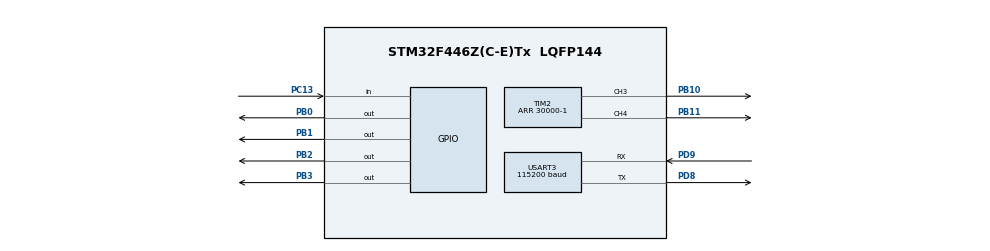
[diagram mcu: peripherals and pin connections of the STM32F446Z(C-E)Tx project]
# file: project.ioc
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Mcu.Family=STM32F4
Mcu.Name=STM32F446Z(C-E)Tx
Mcu.Package=LQFP144
NVIC.PriorityGroup=NVIC_PRIORITYGROUP_4
PB0.Signal=GPIO_Output
PB1.Signal=GPIO_Output
PB10.Signal=S_TIM2_CH3
PB11.Signal=S_TIM2_CH4
PB2.Signal=GPIO_Output
PB3.Signal=GPIO_Output
PD9.Mode=Asynchronous
PD9.Signal=USART3_RX
PC13.GPIO_PuPd=GPIO_PULLDOWN
PC13.Signal=GPIO_Input
PD8.Mode=Asynchronous
PD8.Signal=USART3_TX
ProjectManager.HeapSize=0x200
ProjectManager.StackSize=0x400
ProjectManager.TargetToolchain=MDK-ARM V5
RCC.CortexFreq_Value=16000000
RCC.USBFreq_Value=96000000
RCC.VCOOutputFreq_Value=192000000
SH.S_TIM2_CH3.0=TIM2_CH3,PWM Generation3 CH3
SH.S_TIM2_CH4.0=TIM2_CH4,PWM Generation4 CH4
TIM2.Channel-PWM\ Generation3\ CH3=TIM_CHANNEL_3
TIM2.Channel-PWM\ Generation4\ CH4=TIM_CHANNEL_4
TIM2.Period=30000-1
USART3.BaudRate=115200
USART3.VirtualMode=VM_ASYNC
board=custom

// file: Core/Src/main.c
/* USER CODE BEGIN Header */
/**
  ******************************************************************************
  * @file           : main.c
  * @brief          : Main program body
  ******************************************************************************
  * @attention
  *
  * Copyright (c) 2025 STMicroelectronics.
  * All rights reserved.
  *
  * This software is licensed under terms that can be found in the LICENSE file
  * in the root directory of this software component.
  * If no LICENSE file comes with this software, it is provided AS-IS.
  *
  ******************************************************************************
  */
/* USER CODE END Header */
#include "main.h"

/* USER CODE BEGIN Includes */
#include <stdio.h>
/* USER CODE END Includes */

/* USER CODE BEGIN PD */
#define MOTOR_BUTTON_DEBOUNCE_MS 20U
/* A silent PC link stops the car after this long. */
#define MOTOR_SERIAL_TIMEOUT_MS 500U
/* USER CODE END PD */

TIM_HandleTypeDef htim2;

UART_HandleTypeDef huart3;

/* USER CODE BEGIN PV */
static uint8_t motor_command = 0U;
static uint8_t button_candidate = 0U;
static uint32_t button_changed_tick = 0U;
/* Written by USART3_IRQHandler, read by Motor_ControlSerial. */
static volatile uint8_t serial_active = 0U;
static volatile uint8_t serial_signal = 0U;
static volatile uint32_t serial_tick = 0U;
/* USER CODE END PV */

void SystemClock_Config(void);
static void MX_GPIO_Init(void);
static void MX_TIM2_Init(void);
static void MX_USART3_UART_Init(void);
/* USER CODE BEGIN PFP */
static void Motor_SetCommand(uint8_t command);
static void Motor_ReportRegisters(void);
/* USER CODE END PFP */

int main(void)
{

  /* MCU Configuration--------------------------------------------------------*/

  /* Reset of all peripherals, Initializes the Flash interface and the Systick. */
  HAL_Init();

  /* Configure the system clock */
  SystemClock_Config();

  /* Initialize all configured peripherals */
  MX_GPIO_Init();
  MX_TIM2_Init();
  MX_USART3_UART_Init();
  /* USER CODE BEGIN 2 */
  /* Boot neutral before enabling either PWM output. */
  Motor_SetCommand(0U);
  if (HAL_TIM_PWM_Start(&htim2, TIM_CHANNEL_3) != HAL_OK ||
      HAL_TIM_PWM_Start(&htim2, TIM_CHANNEL_4) != HAL_OK)
  {
    Error_Handler();
  }
  button_changed_tick = HAL_GetTick();
  /* Command bytes from the PC arrive by interrupt on the ST-LINK COM port. */
  HAL_NVIC_SetPriority(USART3_IRQn, 5U, 0U);
  HAL_NVIC_EnableIRQ(USART3_IRQn);
  __HAL_UART_ENABLE_IT(&huart3, UART_IT_RXNE);
/* USER CODE END 2 */

  /* Infinite loop */
  /* USER CODE BEGIN WHILE */
  while (1)
  {
    /* PC commands drive the car while they keep arriving; when the link is
       silent the USER button works as before. */
    if (Motor_ControlSerial() == 0U)
    {
      Motor_ControlButton();
    }
    /* USER CODE END WHILE */

  }
}

void SystemClock_Config(void)
{
  RCC_OscInitTypeDef RCC_OscInitStruct = {0};
  RCC_ClkInitTypeDef RCC_ClkInitStruct = {0};

  /** Configure the main internal regulator output voltage
  */
  __HAL_RCC_PWR_CLK_ENABLE();
  __HAL_PWR_VOLTAGESCALING_CONFIG(PWR_REGULATOR_VOLTAGE_SCALE3);

  /** Initializes the RCC Oscillators according to the specified parameters
  * in the RCC_OscInitTypeDef structure.
  */
  RCC_OscInitStruct.OscillatorType = RCC_OSCILLATORTYPE_HSI;
  RCC_OscInitStruct.HSIState = RCC_HSI_ON;
  RCC_OscInitStruct.HSICalibrationValue = RCC_HSICALIBRATION_DEFAULT;
  RCC_OscInitStruct.PLL.PLLState = RCC_PLL_NONE;
  if (HAL_RCC_OscConfig(&RCC_OscInitStruct) != HAL_OK)
  {
    Error_Handler();
  }

  /** Initializes the CPU, AHB and APB buses clocks
  */
  RCC_ClkInitStruct.ClockType = RCC_CLOCKTYPE_HCLK|RCC_CLOCKTYPE_SYSCLK
                              |RCC_CLOCKTYPE_PCLK1|RCC_CLOCKTYPE_PCLK2;
  RCC_ClkInitStruct.SYSCLKSource = RCC_SYSCLKSOURCE_HSI;
  RCC_ClkInitStruct.AHBCLKDivider = RCC_SYSCLK_DIV1;
  RCC_ClkInitStruct.APB1CLKDivider = RCC_HCLK_DIV1;
  RCC_ClkInitStruct.APB2CLKDivider = RCC_HCLK_DIV1;

  if (HAL_RCC_ClockConfig(&RCC_ClkInitStruct, FLASH_LATENCY_0) != HAL_OK)
  {
    Error_Handler();
  }
}

static void MX_TIM2_Init(void)
{

  TIM_MasterConfigTypeDef sMasterConfig = {0};
  TIM_OC_InitTypeDef sConfigOC = {0};

  htim2.Instance = TIM2;
  htim2.Init.Prescaler = 0;
  htim2.Init.CounterMode = TIM_COUNTERMODE_UP;
  htim2.Init.Period = 30000-1;
  htim2.Init.ClockDivision = TIM_CLOCKDIVISION_DIV1;
  htim2.Init.AutoReloadPreload = TIM_AUTORELOAD_PRELOAD_DISABLE;
  if (HAL_TIM_PWM_Init(&htim2) != HAL_OK)
  {
    Error_Handler();
  }
  sMasterConfig.MasterOutputTrigger = TIM_TRGO_RESET;
  sMasterConfig.MasterSlaveMode = TIM_MASTERSLAVEMODE_DISABLE;
  if (HAL_TIMEx_MasterConfigSynchronization(&htim2, &sMasterConfig) != HAL_OK)
  {
    Error_Handler();
  }
  sConfigOC.OCMode = TIM_OCMODE_PWM1;
  sConfigOC.Pulse = 0;
  sConfigOC.OCPolarity = TIM_OCPOLARITY_HIGH;
  sConfigOC.OCFastMode = TIM_OCFAST_DISABLE;
  if (HAL_TIM_PWM_ConfigChannel(&htim2, &sConfigOC, TIM_CHANNEL_3) != HAL_OK)
  {
    Error_Handler();
  }
  if (HAL_TIM_PWM_ConfigChannel(&htim2, &sConfigOC, TIM_CHANNEL_4) != HAL_OK)
  {
    Error_Handler();
  }
  HAL_TIM_MspPostInit(&htim2);

}

static void MX_USART3_UART_Init(void)
{

  huart3.Instance = USART3;
  huart3.Init.BaudRate = 115200;
  huart3.Init.WordLength = UART_WORDLENGTH_8B;
  huart3.Init.StopBits = UART_STOPBITS_1;
  huart3.Init.Parity = UART_PARITY_NONE;
  huart3.Init.Mode = UART_MODE_TX_RX;
  huart3.Init.HwFlowCtl = UART_HWCONTROL_NONE;
  huart3.Init.OverSampling = UART_OVERSAMPLING_16;
  if (HAL_UART_Init(&huart3) != HAL_OK)
  {
    Error_Handler();
  }

}

static void MX_GPIO_Init(void)
{
  GPIO_InitTypeDef GPIO_InitStruct = {0};

  /* GPIO Ports Clock Enable */
  __HAL_RCC_GPIOC_CLK_ENABLE();
  __HAL_RCC_GPIOB_CLK_ENABLE();
  __HAL_RCC_GPIOD_CLK_ENABLE();

  /*Configure GPIO pin Output Level */
  HAL_GPIO_WritePin(GPIOB, GPIO_PIN_0|GPIO_PIN_1|GPIO_PIN_2|GPIO_PIN_3, GPIO_PIN_RESET);

  /*Configure GPIO pins : PB0 PB1 PB2 PB3 */
  GPIO_InitStruct.Pin = GPIO_PIN_0|GPIO_PIN_1|GPIO_PIN_2|GPIO_PIN_3;
  GPIO_InitStruct.Mode = GPIO_MODE_OUTPUT_PP;
  GPIO_InitStruct.Pull = GPIO_NOPULL;
  GPIO_InitStruct.Speed = GPIO_SPEED_FREQ_LOW;
  HAL_GPIO_Init(GPIOB, &GPIO_InitStruct);

  /* USER CODE BEGIN MX_GPIO_Init_2 */
  /* NUCLEO-F446ZE USER button: PC13 is high while pressed. */
  GPIO_InitStruct.Pin = GPIO_PIN_13;
  GPIO_InitStruct.Mode = GPIO_MODE_INPUT;
  GPIO_InitStruct.Pull = GPIO_PULLDOWN;
  HAL_GPIO_Init(GPIOC, &GPIO_InitStruct);
  /* USER CODE END MX_GPIO_Init_2 */
}

/* USER CODE BEGIN 4 */
void Motor_ControlInput(uint8_t forward_signal)
{
  /* Apply the caller's signal directly, without button debounce. */
  Motor_SetCommand((forward_signal >= 1U && forward_signal <= 4U) ?
                   forward_signal : 0U);
}

/* The existing bridge wiring uses two direction inputs per motor.
   1: both wheels at 75%. 2: both at full power. 3: bear left (left wheel
   at 25%, right at 75%). 4: bear right. Anything else: idle. */
static void Motor_SetCommand(uint8_t command)
{
  /* PWM duty = CCR / (ARR + 1), not CCR / ARR. A compare value above the
     period holds the output high. */
  uint32_t full = __HAL_TIM_GET_AUTORELOAD(&htim2) + 1U;
  uint32_t normal = (full * 3U) / 4U;
  uint32_t inner = full / 4U;
  uint32_t left = 0U;
  uint32_t right = 0U;

  switch (command)
  {
    case 1U: left = normal; right = normal; break;
    case 2U: left = full;   right = full;   break;
    case 3U: left = inner;  right = normal; break;
    case 4U: left = normal; right = inner;  break;
    default: command = 0U;                  break;
  }
  if (command != 0U)
  {
    /* Left motor reversed: IN1=0, IN2=1; right retains IN3=1, IN4=0. */
    HAL_GPIO_WritePin(GPIOB, GPIO_PIN_0 | GPIO_PIN_3, GPIO_PIN_RESET);
    HAL_GPIO_WritePin(GPIOB, GPIO_PIN_1 | GPIO_PIN_2, GPIO_PIN_SET);
  }

  __HAL_TIM_SET_COMPARE(&htim2, TIM_CHANNEL_3, left);   /* PB10, ENA */
  __HAL_TIM_SET_COMPARE(&htim2, TIM_CHANNEL_4, right);  /* PB11, ENB */
  if (command == 0U)
  {
    HAL_GPIO_WritePin(GPIOB, GPIO_PIN_0 | GPIO_PIN_1 |
                            GPIO_PIN_2 | GPIO_PIN_3, GPIO_PIN_RESET);
  }
  motor_command = command;
}

void Motor_ControlButton(void)
{
  uint32_t now = HAL_GetTick();
  uint8_t raw = (HAL_GPIO_ReadPin(GPIOC, GPIO_PIN_13) == GPIO_PIN_SET) ? 1U : 0U;
  static uint32_t last_report_tick = 0U;
  static uint8_t reported_command = 255U;

  if (raw != button_candidate)
  {
    button_candidate = raw;
    button_changed_tick = now;
  }
  if (button_candidate != motor_command &&
      (uint32_t)(now - button_changed_tick) >= MOTOR_BUTTON_DEBOUNCE_MS)
  {
    Motor_SetCommand(button_candidate);
  }

  /* USB is status-only in button mode; received commands are ignored. */
  if (motor_command != reported_command ||
      (uint32_t)(now - last_report_tick) >= 1000U)
  {
    char reply[96];
    int length = snprintf(reply, sizeof(reply),
                          "BUTTON raw=%u cmd=%u ccr3=%lu ccr4=%lu\r\n",
                          (unsigned)raw, (unsigned)motor_command,
                          (unsigned long)TIM2->CCR3, (unsigned long)TIM2->CCR4);
    if (length > 0 && (size_t)length < sizeof(reply))
    {
      (void)HAL_UART_Transmit(&huart3, (uint8_t *)reply, (uint16_t)length, 10U);
    }
    Motor_ReportRegisters();
    reported_command = motor_command;
    last_report_tick = now;
  }
  HAL_Delay(1U);
}

static void Motor_ReportRegisters(void)
{
  char registers[224];
  int count = snprintf(registers, sizeof(registers),
                       "PWM pclk=%lu psc=%lu arr=%lu ccr3=%lu ccr4=%lu "
                       "cr1=%lu ccer=%lu ccmr2=%lu moder=%lu afr=%lu odr=%lu\r\n",
                       (unsigned long)HAL_RCC_GetPCLK1Freq(),
                       (unsigned long)TIM2->PSC, (unsigned long)TIM2->ARR,
                       (unsigned long)TIM2->CCR3, (unsigned long)TIM2->CCR4,
                       (unsigned long)TIM2->CR1, (unsigned long)TIM2->CCER,
                       (unsigned long)TIM2->CCMR2, (unsigned long)GPIOB->MODER,
                       (unsigned long)GPIOB->AFR[1], (unsigned long)GPIOB->ODR);
  if (count > 0 && (size_t)count < sizeof(registers))
  {
    (void)HAL_UART_Transmit(&huart3, (uint8_t *)registers, (uint16_t)count, 25U);
  }
}

/* Keeps the newest command byte: ASCII '1' = forward at 75% PWM,
   '2' = forward at full power, '3' = bear left, '4' = bear right,
   '0' = idle. */
void USART3_IRQHandler(void)
{
  /* Reading SR then DR clears RXNE and any overrun, noise or framing flag. */
  uint32_t status = USART3->SR;
  uint8_t byte = (uint8_t)USART3->DR;

  if ((status & USART_SR_RXNE) != 0U &&
      (status & (USART_SR_FE | USART_SR_NE)) == 0U &&
      byte >= (uint8_t)'0' && byte <= (uint8_t)'4')
  {
    serial_signal = (uint8_t)(byte - (uint8_t)'0');
    serial_tick = HAL_GetTick();
    serial_active = 1U;
  }
}

uint8_t Motor_ControlSerial(void)
{
  static uint32_t last_report_tick = 0U;
  static uint8_t reported_command = 255U;
  uint32_t now;
  uint8_t active;
  uint8_t signal;
  uint8_t expired = 0U;

  /* Take the handler's values as one consistent set. */
  HAL_NVIC_DisableIRQ(USART3_IRQn);
  now = HAL_GetTick();
  if (serial_active != 0U &&
      (uint32_t)(now - serial_tick) > MOTOR_SERIAL_TIMEOUT_MS)
  {
    serial_active = 0U;
    serial_signal = 0U;
    expired = 1U;
  }
  active = serial_active;
  signal = serial_signal;
  HAL_NVIC_EnableIRQ(USART3_IRQn);

  if (active == 0U)
  {
    if (expired != 0U)
    {
      /* The PC stopped sending: stop before the button takes over. */
      Motor_ControlInput(0U);
      reported_command = 255U;
    }
    return 0U;
  }

  Motor_ControlInput(signal);
  if (motor_command != reported_command ||
      (uint32_t)(now - last_report_tick) >= 1000U)
  {
    char reply[96];
    int length = snprintf(reply, sizeof(reply),
                          "SERIAL sig=%u cmd=%u ccr3=%lu ccr4=%lu\r\n",
                          (unsigned)signal, (unsigned)motor_command,
                          (unsigned long)TIM2->CCR3, (unsigned long)TIM2->CCR4);
    if (length > 0 && (size_t)length < sizeof(reply))
    {
      (void)HAL_UART_Transmit(&huart3, (uint8_t *)reply, (uint16_t)length, 10U);
    }
    Motor_ReportRegisters();
    reported_command = motor_command;
    last_report_tick = now;
  }
  HAL_Delay(1U);
  return 1U;
}
/* USER CODE END 4 */

void Error_Handler(void)
{
  /* USER CODE BEGIN Error_Handler_Debug */
  /* Drop bridge enable/direction even if peripheral startup failed. */
  if ((RCC->APB1ENR & RCC_APB1ENR_TIM2EN) != 0U)
  {
    TIM2->CCR3 = 0U;
    TIM2->CCR4 = 0U;
    TIM2->CCER &= ~(TIM_CCER_CC3E | TIM_CCER_CC4E);
  }
  if ((RCC->AHB1ENR & RCC_AHB1ENR_GPIOBEN) != 0U)
  {
    HAL_GPIO_WritePin(GPIOB, GPIO_PIN_0 | GPIO_PIN_1 |
                            GPIO_PIN_2 | GPIO_PIN_3, GPIO_PIN_RESET);
  }
  __disable_irq();
  while (1)
  {
  }
/* USER CODE END Error_Handler_Debug */
}
